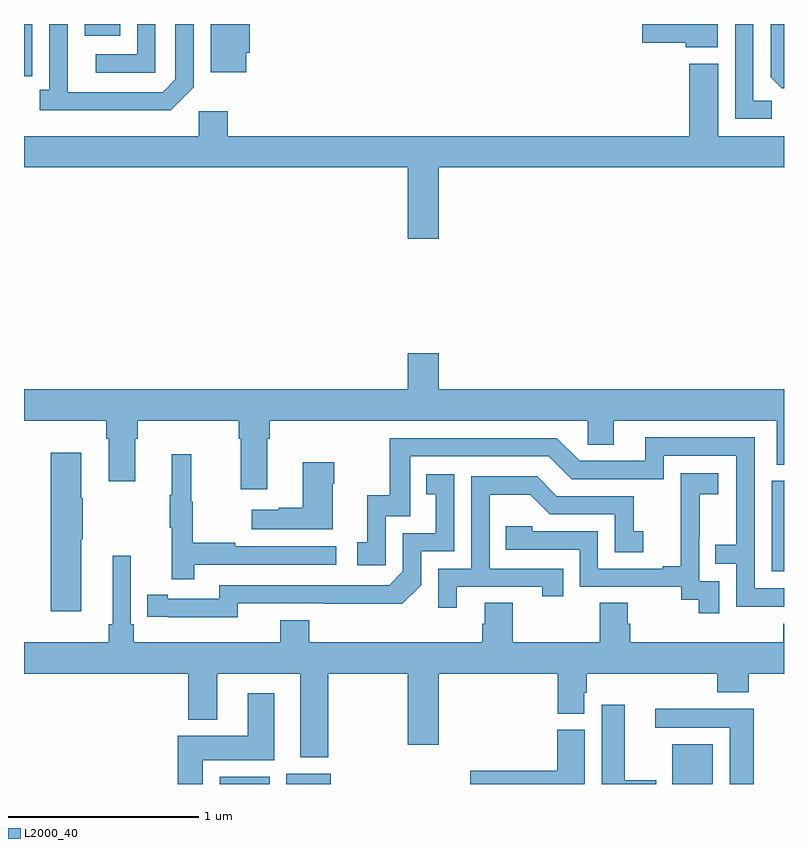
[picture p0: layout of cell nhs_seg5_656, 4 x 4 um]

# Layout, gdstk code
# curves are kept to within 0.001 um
import gdstk
lib = gdstk.Library(unit=1e-6, precision=1e-09)
def R(c, l, rs):  # rectangles x0, y0, x1, y1
    for r in rs: c.add(gdstk.rectangle(r[:2], r[2:], *l))
def P(c, l, *ps):  # polygons
    for p in ps: c.add(gdstk.Polygon(p, *l))
L2000_40 = (2000, 40)

nhs_seg5_656 = lib.new_cell('nhs_seg5_656')
R(nhs_seg5_656, L2000_40, [(152.03,902.799,152.293,902.836), (152.381,902.799,152.614,902.854), (154.412,902.799,154.624,903.007), (154.935,903.918,155,904.395), (151.319,906.737,151.507,906.799)])
P(nhs_seg5_656, L2000_40, [(154.651,906.799),(154.254,906.799),(154.254,906.701),(154.484,906.701),(154.484,906.677),(154.651,906.677)],
  [(155,906.799),(154.929,906.799),(154.929,906.52),(154.988,906.461),(155,906.461)],
  [(154.935,906.395),(154.839,906.395),(154.839,906.799),(154.743,906.799),(154.743,906.3),(154.935,906.3)],
  [(152.17,906.649),(152.189,906.649),(152.189,906.799),(151.982,906.799),(151.982,906.545),(152.17,906.545)],
  [(151.893,906.465),(151.893,906.799),(151.797,906.799),(151.797,906.507),(151.731,906.441),(151.231,906.441),(151.23,906.799),(151.134,906.799),(151.134,906.454),(151.083,906.454),(151.083,906.344),(151.772,906.344)],
  [(151.043,906.634),(151.044,906.634),(151.044,906.799),(151,906.799),(151,906.525),(151.043,906.525)],
  [(151.692,906.799),(151.596,906.799),(151.596,906.639),(151.377,906.639),(151.377,906.543),(151.692,906.543)],
  [(152.072,906.34),(151.92,906.34),(151.92,906.208),(151,906.208),(151,906.044),(153.02,906.044),(153.02,905.67),(153.184,905.67),(153.184,906.044),(155,906.044),(155,906.208),(154.654,906.208),(154.654,906.589),(154.502,906.589),(154.502,906.208),(152.072,906.208)],
  [(153.184,905.065),(153.02,905.065),(153.02,904.876),(151,904.876),(151,904.712),(151.433,904.712),(151.433,904.616),(151.445,904.616),(151.445,904.392),(151.585,904.392),(151.585,904.616),(151.598,904.616),(151.598,904.712),(152.129,904.712),(152.129,904.616),(152.141,904.616),(152.141,904.35),(152.281,904.35),(152.281,904.616),(152.294,904.616),(152.294,904.712),(153.966,904.712),(153.966,904.585),(154.105,904.585),(154.105,904.712),(154.961,904.712),(154.961,904.48),(155,904.48),(155,904.876),(153.184,904.876)],
  [(155,903.828),(154.845,903.828),(154.845,904.623),(154.271,904.623),(154.271,904.5),(153.924,904.5),(153.804,904.62),(152.925,904.62),(152.925,904.318),(152.807,904.318),(152.807,904.071),(152.754,904.071),(152.754,903.951),(152.904,903.951),(152.904,904.209),(153.033,904.209),(153.033,904.524),(153.762,904.524),(153.882,904.404),(154.368,904.404),(154.368,904.527),(154.749,904.527),(154.749,904.058),(154.639,904.058),(154.639,903.957),(154.749,903.957),(154.749,903.732),(155,903.732)],
  [(151.3,904.087),(151.308,904.087),(151.308,904.304),(151.3,904.304),(151.3,904.543),(151.142,904.543),(151.142,903.708),(151.3,903.708)],
  [(151.895,903.954),(152.644,903.954),(152.644,904.05),(152.111,904.05),(152.111,904.07),(151.888,904.07),(151.888,904.284),(151.88,904.284),(151.88,904.534),(151.778,904.534),(151.778,904.321),(151.767,904.321),(151.767,904.147),(151.778,904.147),(151.778,903.876),(151.895,903.876)],
  [(152.626,904.379),(152.634,904.379),(152.634,904.492),(152.468,904.492),(152.468,904.253),(152.342,904.253),(152.342,904.243),(152.199,904.243),(152.199,904.139),(152.626,904.139)],
  [(154.659,903.867),(154.554,903.867),(154.554,904.097),(154.556,904.097),(154.556,904.325),(154.654,904.325),(154.654,904.435),(154.456,904.435),(154.456,904.229),(154.457,904.229),(154.457,903.946),(154.361,903.946),(154.361,903.933),(154.02,903.933),(154.02,904.128),(153.675,904.128),(153.675,904.155),(153.535,904.155),(153.535,904.032),(153.924,904.032),(153.924,903.837),(154.458,903.837),(154.458,903.769),(154.551,903.769),(154.551,903.699),(154.659,903.699)],
  [(152.124,903.75),(152.992,903.749),(153.09,903.846),(153.09,904.023),(153.264,904.023),(153.264,904.429),(153.118,904.429),(153.118,904.323),(153.167,904.323),(153.167,904.119),(152.994,904.119),(152.994,903.918),(152.922,903.846),(152.028,903.846),(152.028,903.774),(151.756,903.774),(151.756,903.794),(151.648,903.794),(151.648,903.678),(152.124,903.677)],
  [(153.277,903.837),(153.728,903.837),(153.728,903.786),(153.839,903.786),(153.839,903.933),(153.45,903.933),(153.45,904.322),(153.664,904.322),(153.768,904.218),(154.11,904.218),(154.11,904.02),(154.258,904.02),(154.258,904.129),(154.209,904.129),(154.209,904.314),(153.805,904.314),(153.7,904.419),(153.354,904.419),(153.354,903.933),(153.18,903.933),(153.18,903.726),(153.277,903.726)],
  [(152.601,903.38),(153.02,903.38),(153.02,903.006),(153.184,903.006),(153.184,903.38),(153.809,903.38),(153.809,903.169),(153.949,903.169),(153.949,903.279),(153.962,903.279),(153.962,903.38),(154.649,903.38),(154.649,903.281),(154.814,903.281),(154.814,903.38),(155,903.38),(155,903.643),(154.997,903.643),(154.997,903.544),(154.19,903.544),(154.19,903.642),(154.177,903.642),(154.177,903.752),(154.03,903.752),(154.03,903.544),(153.573,903.544),(153.573,903.752),(153.425,903.752),(153.425,903.642),(153.413,903.642),(153.413,903.544),(152.501,903.544),(152.501,903.661),(152.348,903.661),(152.348,903.544),(151.577,903.544),(151.577,903.64),(151.563,903.64),(151.563,904),(151.466,904),(151.466,903.64),(151.447,903.64),(151.447,903.544),(151,903.544),(151,903.38),(151.865,903.38),(151.865,903.137),(152.017,903.137),(152.017,903.38),(152.453,903.38),(152.453,902.939),(152.601,902.939)],
  [(151.942,902.924),(152.317,902.924),(152.317,903.277),(152.177,903.277),(152.177,903.052),(151.808,903.052),(151.808,902.799),(151.942,902.799)],
  [(154.327,902.818),(154.162,902.818),(154.162,903.217),(154.04,903.217),(154.04,902.799),(154.327,902.799)],
  [(154.841,903.194),(154.323,903.194),(154.323,903.096),(154.715,903.096),(154.715,902.799),(154.841,902.799)],
  [(153.952,903.084),(153.806,903.084),(153.806,902.87),(153.348,902.87),(153.348,902.799),(153.952,902.799)])

lib.write_gds('nhs_seg5_656.gds')
